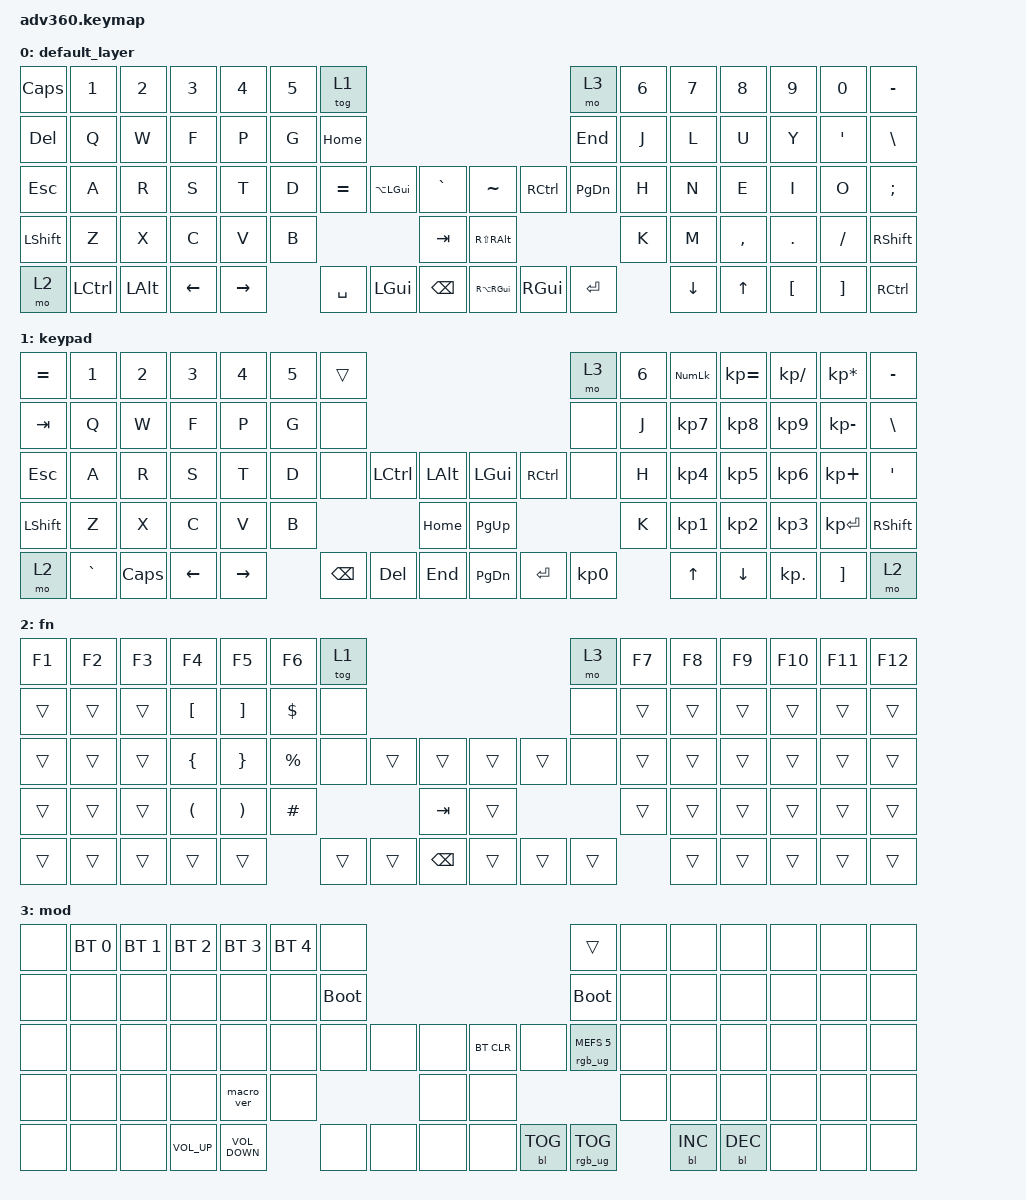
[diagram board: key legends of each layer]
#include <behaviors.dtsi>
#include <dt-bindings/zmk/backlight.h>
#include <dt-bindings/zmk/bt.h>
#include <dt-bindings/zmk/keys.h>
#include <dt-bindings/zmk/rgb.h>

/ {
    behaviors {
        #include "macros.dtsi"
      #include "version.dtsi"
      #ifndef VERSION_MACRO

        macro_ver: macro_ver {
            compatible = "zmk,behavior-macro";
            label = "macro_version";
            #binding-cells = <0>;
            bindings = <&kp RET>;
        };

        #endif

        hm: homerow_mods {
            compatible = "zmk,behavior-hold-tap";
            label = "HOMEROW_MODS";
            #binding-cells = <2>;
            tapping-term-ms = <200>;
            quick_tap_ms = <175>;
            flavor = "tap-preferred";
            bindings = <&kp>, <&kp>;
        };
    };

    macros {
    };

    keymap {
        compatible = "zmk,keymap";

        default_layer {
            bindings = <
&kp CAPS   &kp N1     &kp N2    &kp N3    &kp N4     &kp N5  &tog 1                                                                        &mo 3      &kp N6  &kp N7    &kp N8     &kp N9    &kp N0    &kp MINUS
&kp DEL    &kp Q      &kp W     &kp F     &kp P      &kp G   &kp HOME                                                                      &kp END    &kp J   &kp L     &kp U      &kp Y     &kp SQT   &kp BSLH
&kp ESC    &kp A      &kp R     &kp S     &kp T      &kp D   &kp EQUAL  &kp LA(LEFT_GUI)  &kp GRAVE      &kp TILDE          &kp RCTRL      &kp PG_DN  &kp H   &kp N     &kp E      &kp I     &kp O     &kp SEMI
&kp LSHFT  &kp Z      &kp X     &kp C     &kp V      &kp B                                &kp TAB        &kp RS(RIGHT_ALT)                            &kp K   &kp M     &kp COMMA  &kp DOT   &kp FSLH  &kp RSHFT
&mo 2      &kp LCTRL  &kp LALT  &kp LEFT  &kp RIGHT          &kp SPACE  &kp LGUI          &kp BSPC       &kp RA(RIGHT_GUI)  &kp RIGHT_GUI  &kp RET            &kp DOWN  &kp UP     &kp LBKT  &kp RBKT  &kp RCTRL
            >;
        };

        keypad {
            bindings = <
&kp EQUAL  &kp N1     &kp N2    &kp N3    &kp N4     &kp N5  &trans                                                   &mo 3      &kp N6  &kp KP_NUM  &kp KP_EQUAL  &kp KP_DIVIDE  &kp KP_MULTIPLY  &kp MINUS
&kp TAB    &kp Q      &kp W     &kp F     &kp P      &kp G   &none                                                    &none      &kp J   &kp KP_N7   &kp KP_N8     &kp KP_N9      &kp KP_MINUS     &kp BSLH
&kp ESC    &kp A      &kp R     &kp S     &kp T      &kp D   &none     &kp LCTRL  &kp LALT      &kp LGUI   &kp RCTRL  &none      &kp H   &kp KP_N4   &kp KP_N5     &kp KP_N6      &kp KP_PLUS      &kp SQT
&kp LSHFT  &kp Z      &kp X     &kp C     &kp V      &kp B                        &kp HOME      &kp PG_UP                        &kp K   &kp KP_N1   &kp KP_N2     &kp KP_N3      &kp KP_ENTER     &kp RSHFT
&mo 2      &kp GRAVE  &kp CAPS  &kp LEFT  &kp RIGHT          &kp BSPC  &kp DEL    &kp END       &kp PG_DN  &kp ENTER  &kp KP_N0          &kp UP      &kp DOWN      &kp KP_DOT     &kp RBKT         &mo 2
            >;
        };

        fn {
            bindings = <
&kp F1  &kp F2  &kp F3  &kp F4                &kp F5                 &kp F6     &tog 1                                             &mo 3   &kp F7  &kp F8  &kp F9  &kp F10  &kp F11  &kp F12
&trans  &trans  &trans  &kp LBKT              &kp RBKT               &kp DLLR   &none                                              &none   &trans  &trans  &trans  &trans   &trans   &trans
&trans  &trans  &trans  &kp LEFT_BRACE        &kp RIGHT_BRACE        &kp PRCNT  &none   &trans  &trans             &trans  &trans  &none   &trans  &trans  &trans  &trans   &trans   &trans
&trans  &trans  &trans  &kp LEFT_PARENTHESIS  &kp RIGHT_PARENTHESIS  &kp HASH                   &kp TAB            &trans                  &trans  &trans  &trans  &trans   &trans   &trans
&trans  &trans  &trans  &trans                &trans                            &trans  &trans  &kp BACKSPACE      &trans  &trans  &trans          &trans  &trans  &trans   &trans   &trans
            >;
        };

        mod {
            bindings = <
&none  &bt BT_SEL 0  &bt BT_SEL 1  &bt BT_SEL 2  &bt BT_SEL 3       &bt BT_SEL 4  &none                                                  &trans                  &none  &none       &none       &none  &none  &none
&none  &none         &none         &none         &none              &none         &bootloader                                            &bootloader             &none  &none       &none       &none  &none  &none
&none  &none         &none         &none         &none              &none         &none        &none  &none      &bt BT_CLR  &none       &rgb_ug RGB_MEFS_CMD 5  &none  &none       &none       &none  &none  &none
&none  &none         &none         &none         &macro_ver         &none                             &none      &none                                           &none  &none       &none       &none  &none  &none
&none  &none         &none         &kp C_VOL_UP  &kp C_VOLUME_DOWN                &none        &none  &none      &none       &bl BL_TOG  &rgb_ug RGB_TOG                &bl BL_INC  &bl BL_DEC  &none  &none  &none
            >;
        };
    };
};
